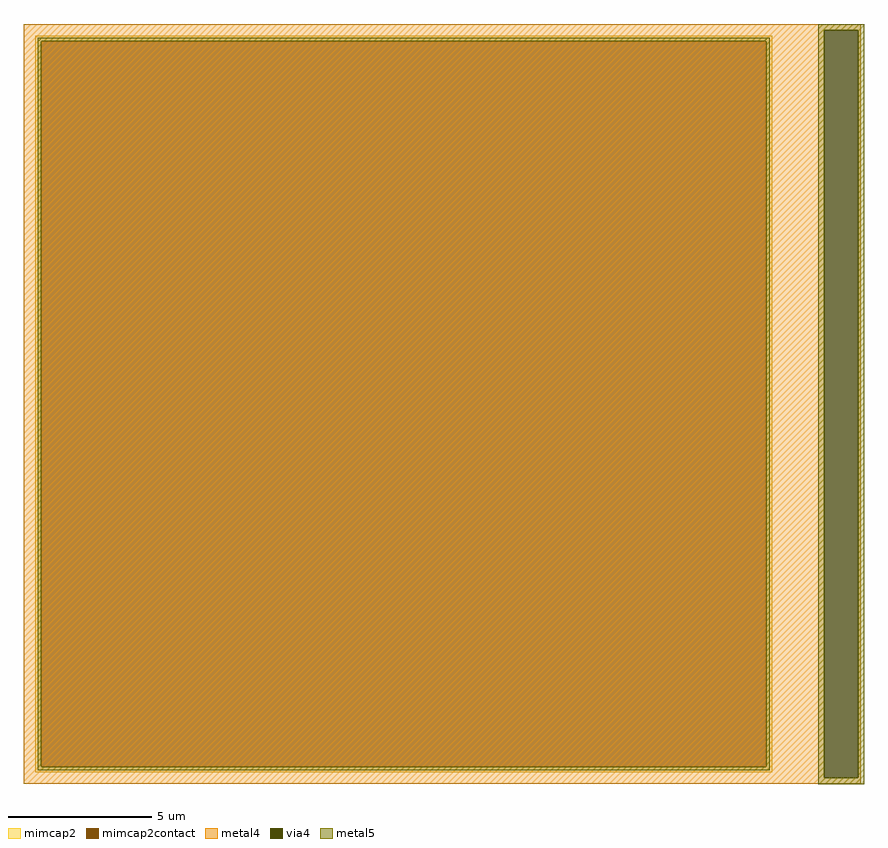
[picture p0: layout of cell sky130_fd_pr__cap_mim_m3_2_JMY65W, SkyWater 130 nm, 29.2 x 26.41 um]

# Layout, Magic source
magic
tech sky130A
magscale 1 2
<< metal4 >>
rect -2909 2599 2909 2640
rect -2909 -2599 2653 2599
rect 2889 -2599 2909 2599
rect -2909 -2640 2909 -2599
<< via4 >>
rect 2653 -2599 2889 2599
<< mimcap2 >>
rect -2829 2520 2291 2560
rect -2829 -2520 -2789 2520
rect 2251 -2520 2291 2520
rect -2829 -2560 2291 -2520
<< mimcap2contact >>
rect -2789 -2520 2251 2520
<< metal5 >>
rect 2611 2599 2931 2641
rect -2813 2520 2275 2544
rect -2813 -2520 -2789 2520
rect 2251 -2520 2275 2520
rect -2813 -2544 2275 -2520
rect 2611 -2599 2653 2599
rect 2889 -2599 2931 2599
rect 2611 -2641 2931 -2599
<< properties >>
string FIXED_BBOX -2909 -2640 2371 2640
string gencell sky130_fd_pr__cap_mim_m3_2
string library sky130
string parameters w 25.6 l 25.6 val 1.33k carea 2.00 cperi 0.19 nx 1 ny 1 dummy 0 square 0 lmin 2.00 wmin 2.00 lmax 30.0 wmax 30.0 dc 0 bconnect 1 tconnect 1 ccov 100
<< end >>
